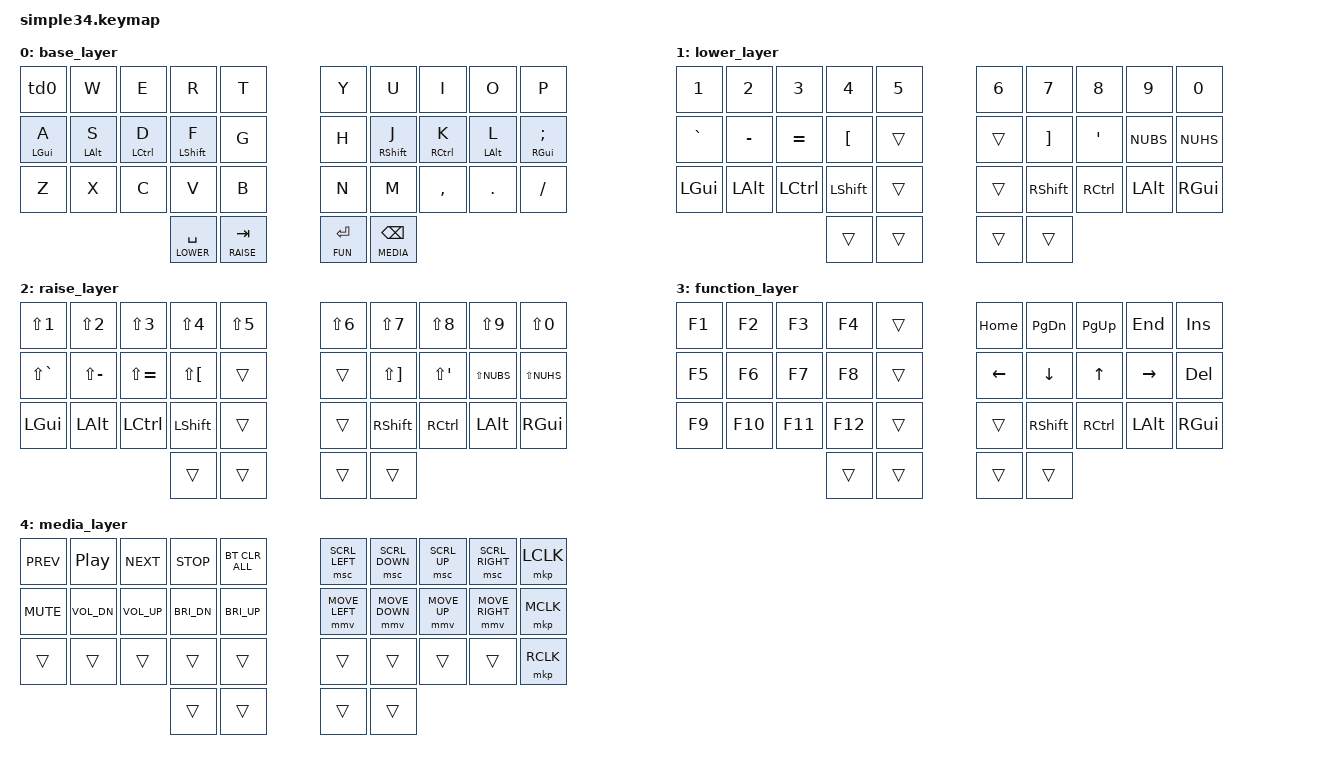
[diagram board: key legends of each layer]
#include <behaviors.dtsi>
#include <dt-bindings/zmk/keys.h>
#include <dt-bindings/zmk/bt.h>
#include <dt-bindings/zmk/mouse.h>

#define BASE  0
#define LOWER 1
#define RAISE 2
#define FUN   3
#define MEDIA 4

/ {
    behaviors {
        /* Hold bindings light the inner LED on that half while the mod is held. */
        hrm_l: hrm_l {
            compatible = "zmk,behavior-hrm-key-press";
            #binding-cells = <1>;
            side = <0>;
        };

        hrm_r: hrm_r {
            compatible = "zmk,behavior-hrm-key-press";
            #binding-cells = <1>;
            side = <1>;
        };

        hml: home_row_mod_left {
            compatible = "zmk,behavior-hold-tap";
            #binding-cells = <2>;
            flavor = "balanced";
            require-prior-idle-ms = <150>;
            tapping-term-ms = <280>;
            quick-tap-ms = <175>;
            bindings = <&hrm_l>, <&kp>;
            hold-trigger-key-positions = <5 6 7 8 9 15 16 17 18 19 25 26 27 28 29 32 33>;
            hold-trigger-on-release;
        };

        hmr: home_row_mod_right {
            compatible = "zmk,behavior-hold-tap";
            #binding-cells = <2>;
            flavor = "balanced";
            require-prior-idle-ms = <150>;
            tapping-term-ms = <280>;
            quick-tap-ms = <175>;
            bindings = <&hrm_r>, <&kp>;
            hold-trigger-key-positions = <0 1 2 3 4 10 11 12 13 14 20 21 22 23 24 30 31>;
            hold-trigger-on-release;
        };

        ltf: layer_tap_fh {
            compatible = "zmk,behavior-hold-tap";
            #binding-cells = <2>;
            tapping-term-ms = <210>;
            quick-tap-ms = <210>;
            flavor = "hold-preferred";
            bindings = <&mo>, <&kp>;
        };

        td0: tap_dance_0 {
            compatible = "zmk,behavior-tap-dance";
            #binding-cells = <0>;
            tapping-term-ms = <200>;
            bindings = <&kp Q>, <&kp ESC>;
        };
    };

    combos {
        compatible = "zmk,combos";

        combo_caps {
            timeout-ms = <50>;
            key-positions = <13 16>;
            bindings = <&kp CAPS>;
            layers = <0>;
        };
    };

    keymap {
        compatible = "zmk,keymap";

        base_layer {
            bindings = <
                &td0            &kp W           &kp E           &kp R           &kp T               &kp Y           &kp U           &kp I           &kp O           &kp P
                &hml LGUI A     &hml LALT S     &hml LCTRL D    &hml LSHFT F    &kp G               &kp H           &hmr RSHFT J    &hmr RCTRL K    &hmr LALT L     &hmr RGUI SEMI
                &kp Z           &kp X           &kp C           &kp V           &kp B               &kp N           &kp M           &kp COMMA       &kp DOT         &kp FSLH
                                                                &ltf LOWER SPACE &ltf RAISE TAB      &ltf FUN RET    &ltf MEDIA BSPC
            >;
        };

        lower_layer {
            bindings = <
                &kp N1          &kp N2          &kp N3          &kp N4          &kp N5              &kp N6          &kp N7          &kp N8          &kp N9          &kp N0
                &kp GRAVE       &kp MINUS       &kp EQUAL       &kp LBKT        &trans              &trans          &kp RBKT        &kp SQT         &kp NUBS        &kp NUHS
                &kp LGUI        &kp LALT        &kp LCTRL       &kp LSHFT       &trans              &trans          &kp RSHFT       &kp RCTRL       &kp LALT        &kp RGUI
                                                                &trans          &trans              &trans          &trans
            >;
        };

        raise_layer {
            bindings = <
                &kp LS(N1)      &kp LS(N2)      &kp LS(N3)      &kp LS(N4)      &kp LS(N5)          &kp LS(N6)      &kp LS(N7)      &kp LS(N8)      &kp LS(N9)      &kp LS(N0)
                &kp LS(GRAVE)   &kp LS(MINUS)   &kp LS(EQUAL)   &kp LS(LBKT)    &trans              &trans          &kp LS(RBKT)    &kp LS(SQT)     &kp LS(NUBS)    &kp LS(NUHS)
                &kp LGUI        &kp LALT        &kp LCTRL       &kp LSHFT       &trans              &trans          &kp RSHFT       &kp RCTRL       &kp LALT        &kp RGUI
                                                                &trans          &trans              &trans          &trans
            >;
        };

        function_layer {
            bindings = <
                &kp F1          &kp F2          &kp F3          &kp F4          &trans              &kp HOME        &kp PG_DN       &kp PG_UP       &kp END         &kp INS
                &kp F5          &kp F6          &kp F7          &kp F8          &trans              &kp LEFT        &kp DOWN        &kp UP          &kp RIGHT       &kp DEL
                &kp F9          &kp F10         &kp F11         &kp F12         &trans              &trans          &kp RSHFT       &kp RCTRL       &kp LALT        &kp RGUI
                                                                &trans          &trans              &trans          &trans
            >;
        };

        media_layer {
            bindings = <
                &kp C_PREV      &kp C_PP        &kp C_NEXT      &kp C_STOP      &bt BT_CLR_ALL      &msc SCRL_LEFT  &msc SCRL_DOWN  &msc SCRL_UP    &msc SCRL_RIGHT &mkp LCLK
                &kp C_MUTE      &kp C_VOL_DN    &kp C_VOL_UP    &kp C_BRI_DN    &kp C_BRI_UP        &mmv MOVE_LEFT  &mmv MOVE_DOWN  &mmv MOVE_UP    &mmv MOVE_RIGHT &mkp MCLK
                &trans          &trans          &trans          &trans          &trans              &trans          &trans          &trans          &trans          &mkp RCLK
                                                                &trans          &trans              &trans          &trans
            >;
        };
    };
};
